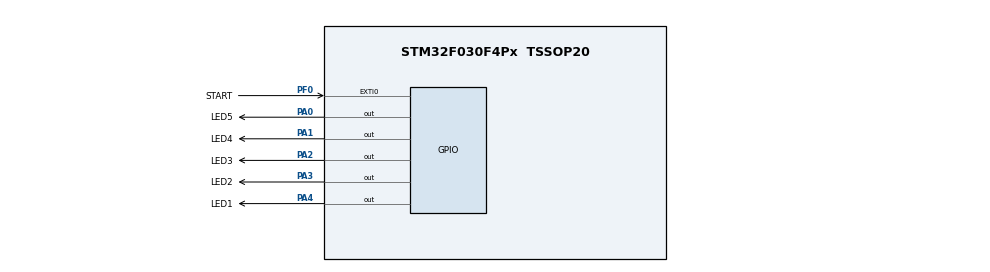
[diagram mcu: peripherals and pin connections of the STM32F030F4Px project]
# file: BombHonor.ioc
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Mcu.Family=STM32F0
Mcu.Name=STM32F030F4Px
Mcu.Package=TSSOP20
NVIC.EXTI0_1_IRQn=true\:0\:0\:false\:false\:true\:true\:true
PA0.GPIO_Label=LED5
PA0.Signal=GPIO_Output
PA1.GPIO_Label=LED4
PA1.Signal=GPIO_Output
PA13.Mode=Serial_Wire
PA13.Signal=SYS_SWDIO
PA14.Mode=Serial_Wire
PA14.Signal=SYS_SWCLK
PA2.GPIO_Label=LED3
PA2.Signal=GPIO_Output
PA3.GPIO_Label=LED2
PA3.Signal=GPIO_Output
PA4.GPIO_Label=LED1
PA4.Signal=GPIO_Output
PF0-OSC_IN.GPIO_Label=START
PF0-OSC_IN.Signal=GPXTI0
ProjectManager.HeapSize=0x200
ProjectManager.StackSize=0x400
ProjectManager.TargetToolchain=STM32CubeIDE
RCC.AHBCLKDivider=RCC_SYSCLK_DIV16
RCC.AHBFreq_Value=500000
RCC.APB1Freq_Value=500000
RCC.APB1TimFreq_Value=500000
RCC.HCLKFreq_Value=500000
board=custom

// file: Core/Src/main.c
/* USER CODE BEGIN Header */
/**
  ******************************************************************************
  * @file           : main.c
  * @brief          : Main program body
  ******************************************************************************
  * @attention
  *
  * <h2><center>&copy; Copyright (c) 2020 STMicroelectronics.
  * All rights reserved.</center></h2>
  *
  * This software component is licensed by ST under BSD 3-Clause license,
  * the "License"; You may not use this file except in compliance with the
  * License. You may obtain a copy of the License at:
  *                        opensource.org/licenses/BSD-3-Clause
  *
  ******************************************************************************
  */
/* USER CODE END Header */

#include "main.h"

void SystemClock_Config(void);
static void MX_GPIO_Init(void);

int main(void)
{

  /* MCU Configuration--------------------------------------------------------*/

  /* Reset of all peripherals, Initializes the Flash interface and the Systick. */
  HAL_Init();

  /* Configure the system clock */
  SystemClock_Config();

  /* Initialize all configured peripherals */
  MX_GPIO_Init();

  /* Infinite loop */
  /* USER CODE BEGIN WHILE */
  uint32_t delay = 50;
  while (1)
  {
    /* USER CODE END WHILE */

    /* USER CODE BEGIN 3 */
  	HAL_GPIO_WritePin(LED1_GPIO_Port,LED1_Pin,GPIO_PIN_SET);
		HAL_Delay(delay);
		HAL_GPIO_WritePin(LED2_GPIO_Port,LED2_Pin,GPIO_PIN_SET);
		HAL_Delay(delay);
		HAL_GPIO_WritePin(LED3_GPIO_Port,LED3_Pin,GPIO_PIN_SET);
		HAL_Delay(delay);
		HAL_GPIO_WritePin(LED4_GPIO_Port,LED4_Pin,GPIO_PIN_SET);
		HAL_Delay(delay);
		HAL_GPIO_WritePin(LED5_GPIO_Port,LED5_Pin,GPIO_PIN_SET);
		HAL_Delay(delay);
		HAL_GPIO_WritePin(LED1_GPIO_Port,LED1_Pin,GPIO_PIN_RESET);
		HAL_GPIO_WritePin(LED2_GPIO_Port,LED2_Pin,GPIO_PIN_RESET);
		HAL_GPIO_WritePin(LED3_GPIO_Port,LED3_Pin,GPIO_PIN_RESET);
		HAL_GPIO_WritePin(LED4_GPIO_Port,LED4_Pin,GPIO_PIN_RESET);
		HAL_GPIO_WritePin(LED5_GPIO_Port,LED5_Pin,GPIO_PIN_RESET);
		HAL_Delay(delay);
  }
  /* USER CODE END 3 */
}

void SystemClock_Config(void)
{
  RCC_OscInitTypeDef RCC_OscInitStruct = {0};
  RCC_ClkInitTypeDef RCC_ClkInitStruct = {0};

  /** Initializes the CPU, AHB and APB busses clocks
  */
  RCC_OscInitStruct.OscillatorType = RCC_OSCILLATORTYPE_HSI;
  RCC_OscInitStruct.HSIState = RCC_HSI_ON;
  RCC_OscInitStruct.HSICalibrationValue = RCC_HSICALIBRATION_DEFAULT;
  RCC_OscInitStruct.PLL.PLLState = RCC_PLL_NONE;
  if (HAL_RCC_OscConfig(&RCC_OscInitStruct) != HAL_OK)
  {
    Error_Handler();
  }
  /** Initializes the CPU, AHB and APB busses clocks
  */
  RCC_ClkInitStruct.ClockType = RCC_CLOCKTYPE_HCLK|RCC_CLOCKTYPE_SYSCLK
                              |RCC_CLOCKTYPE_PCLK1;
  RCC_ClkInitStruct.SYSCLKSource = RCC_SYSCLKSOURCE_HSI;
  RCC_ClkInitStruct.AHBCLKDivider = RCC_SYSCLK_DIV16;
  RCC_ClkInitStruct.APB1CLKDivider = RCC_HCLK_DIV1;

  if (HAL_RCC_ClockConfig(&RCC_ClkInitStruct, FLASH_LATENCY_0) != HAL_OK)
  {
    Error_Handler();
  }
}

static void MX_GPIO_Init(void)
{
  GPIO_InitTypeDef GPIO_InitStruct = {0};

  /* GPIO Ports Clock Enable */
  __HAL_RCC_GPIOF_CLK_ENABLE();
  __HAL_RCC_GPIOA_CLK_ENABLE();
  __HAL_RCC_GPIOB_CLK_ENABLE();

  /*Configure GPIO pin Output Level */
  HAL_GPIO_WritePin(GPIOA, LED5_Pin|LED4_Pin|LED3_Pin|LED2_Pin
                          |LED1_Pin, GPIO_PIN_RESET);

  /*Configure GPIO pin : START_Pin */
  GPIO_InitStruct.Pin = START_Pin;
  GPIO_InitStruct.Mode = GPIO_MODE_IT_RISING;
  GPIO_InitStruct.Pull = GPIO_NOPULL;
  HAL_GPIO_Init(START_GPIO_Port, &GPIO_InitStruct);

  /*Configure GPIO pin : PF1 */
  GPIO_InitStruct.Pin = GPIO_PIN_1;
  GPIO_InitStruct.Mode = GPIO_MODE_ANALOG;
  GPIO_InitStruct.Pull = GPIO_NOPULL;
  HAL_GPIO_Init(GPIOF, &GPIO_InitStruct);

  /*Configure GPIO pins : LED5_Pin LED4_Pin LED3_Pin LED2_Pin
                           LED1_Pin */
  GPIO_InitStruct.Pin = LED5_Pin|LED4_Pin|LED3_Pin|LED2_Pin
                          |LED1_Pin;
  GPIO_InitStruct.Mode = GPIO_MODE_OUTPUT_PP;
  GPIO_InitStruct.Pull = GPIO_NOPULL;
  GPIO_InitStruct.Speed = GPIO_SPEED_FREQ_LOW;
  HAL_GPIO_Init(GPIOA, &GPIO_InitStruct);

  /*Configure GPIO pins : PA5 PA6 PA7 PA9
                           PA10 */
  GPIO_InitStruct.Pin = GPIO_PIN_5|GPIO_PIN_6|GPIO_PIN_7|GPIO_PIN_9
                          |GPIO_PIN_10;
  GPIO_InitStruct.Mode = GPIO_MODE_ANALOG;
  GPIO_InitStruct.Pull = GPIO_NOPULL;
  HAL_GPIO_Init(GPIOA, &GPIO_InitStruct);

  /*Configure GPIO pin : PB1 */
  GPIO_InitStruct.Pin = GPIO_PIN_1;
  GPIO_InitStruct.Mode = GPIO_MODE_ANALOG;
  GPIO_InitStruct.Pull = GPIO_NOPULL;
  HAL_GPIO_Init(GPIOB, &GPIO_InitStruct);

  /* EXTI interrupt init*/
  HAL_NVIC_SetPriority(EXTI0_1_IRQn, 0, 0);
  HAL_NVIC_EnableIRQ(EXTI0_1_IRQn);

}

void Error_Handler(void)
{
}

/************************ (C) COPYRIGHT STMicroelectronics *****END OF FILE****/
